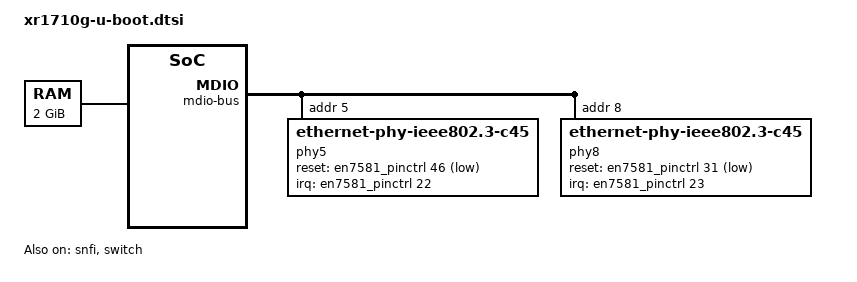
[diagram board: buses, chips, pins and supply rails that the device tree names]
// SPDX-License-Identifier: GPL-2.0+

#include "an7581-u-boot.dtsi"

/ {
	/*
	 * The stock first-stage loader does not populate RAM size for the
	 * second-stage image, so describe the verified 2 GiB layout here.
	 */
	memory@80000000 {
		device_type = "memory";
		reg = <0x0 0x80000000 0x0 0x80000000>;
	};

	/*
	 * Stock XR1710G exposes the external RTL8261 PHYs on the FE MDIO
	 * controller instead of the switch-local MT7531 MDIO block.
	 */
	mdio-bus {
		compatible = "airoha,arht-mdio";
		#address-cells = <1>;
		#size-cells = <0>;

		phy5: ethernet-phy@5 {
			compatible = "ethernet-phy-ieee802.3-c45";
			reg = <5>;
			reset-gpios = <&en7581_pinctrl 46 GPIO_ACTIVE_LOW>;
			reset-assert-us = <40000>;
			reset-deassert-us = <150000>;
			interrupt-parent = <&en7581_pinctrl>;
			interrupts = <22 IRQ_TYPE_LEVEL_LOW>;
			realtek,pnswap-tx;
			realtek,pnswap-rx;
		};

		phy8: ethernet-phy@8 {
			compatible = "ethernet-phy-ieee802.3-c45";
			reg = <8>;
			reset-gpios = <&en7581_pinctrl 31 GPIO_ACTIVE_LOW>;
			reset-assert-us = <40000>;
			reset-deassert-us = <150000>;
			interrupt-parent = <&en7581_pinctrl>;
			interrupts = <23 IRQ_TYPE_LEVEL_LOW>;
			realtek,pnswap-tx;
			realtek,pnswap-rx;
		};
	};
};

&snfi {
	status = "okay";
};

&switch {
	status = "okay";
	pinctrl-names = "default";
	pinctrl-0 = <&mdio_pins>;
	/*
	 * XR1710G exposes recovery Ethernet through external PHYs at MDIO
	 * addresses 5 and 8, so the switch must poll that window instead of
	 * the upstream default.
	 */
	airoha,phy-poll-start = <5>;
	airoha,phy-poll-end = <10>;
};
